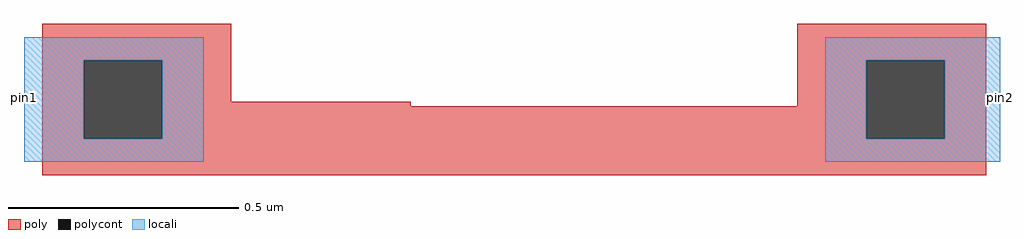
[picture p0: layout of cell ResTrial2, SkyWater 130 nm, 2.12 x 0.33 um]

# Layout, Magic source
magic
tech sky130A
<< poly >>
rect -35 7 6 15
rect -35 -10 -26 7
rect -9 -2 6 7
rect 129 7 170 15
rect -9 -3 45 -2
rect 129 -3 144 7
rect -9 -10 144 -3
rect 161 -10 170 7
rect -35 -18 170 -10
<< polycont >>
rect -26 -10 -9 7
rect 144 -10 161 7
<< locali >>
rect -39 7 0 12
rect -39 -10 -26 7
rect -9 -10 0 7
rect -39 -15 0 -10
rect 135 7 173 12
rect 135 -10 144 7
rect 161 -10 173 7
rect 135 -15 173 -10
<< labels >>
rlabel locali s -39 -1 -39 -1 4 pin1
port 1 nsew
rlabel locali s 173 -1 173 -1 4 pin2
port 2 nsew
<< end >>
